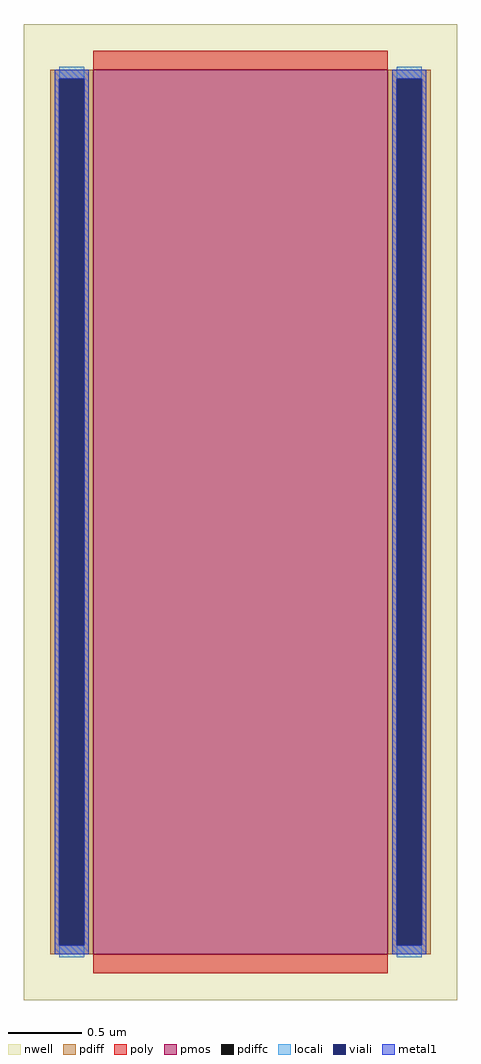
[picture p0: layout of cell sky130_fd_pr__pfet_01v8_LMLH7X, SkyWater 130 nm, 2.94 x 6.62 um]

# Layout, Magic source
magic
tech sky130A
<< nwell >>
rect -147 -331 147 331
<< pmos >>
rect -100 -300 100 300
<< pdiff >>
rect -129 294 -100 300
rect -129 -294 -123 294
rect -106 -294 -100 294
rect -129 -300 -100 -294
rect 100 294 129 300
rect 100 -294 106 294
rect 123 -294 129 294
rect 100 -300 129 -294
<< pdiffc >>
rect -123 -294 -106 294
rect 106 -294 123 294
<< poly >>
rect -100 300 100 313
rect -100 -313 100 -300
<< locali >>
rect -123 294 -106 302
rect -123 -302 -106 -294
rect 106 294 123 302
rect 106 -302 123 -294
<< viali >>
rect -123 -294 -106 294
rect 106 -294 123 294
<< metal1 >>
rect -126 294 -103 300
rect -126 -294 -123 294
rect -106 -294 -103 294
rect -126 -300 -103 -294
rect 103 294 126 300
rect 103 -294 106 294
rect 123 -294 126 294
rect 103 -300 126 -294
<< properties >>
string gencell sky130_fd_pr__pfet_01v8
string library sky130
string parameters w 6.0 l 2.0 m 1 nf 1 diffcov 100 polycov 100 guard 0 glc 0 grc 0 gtc 0 gbc 0 tbcov 100 rlcov 100 topc 0 botc 0 poverlap 0 doverlap 0 lmin 0.15 wmin 0.42 compatible {sky130_fd_pr__pfet_01v8  sky130_fd_pr__pfet_01v8_lvt sky130_fd_pr__pfet_01v8_hvt  sky130_fd_pr__pfet_g5v0d10v5} full_metal 0 viasrc 100 viadrn 100 viagate 100 viagb 0 viagr 0 viagl 0 viagt 0
<< end >>
